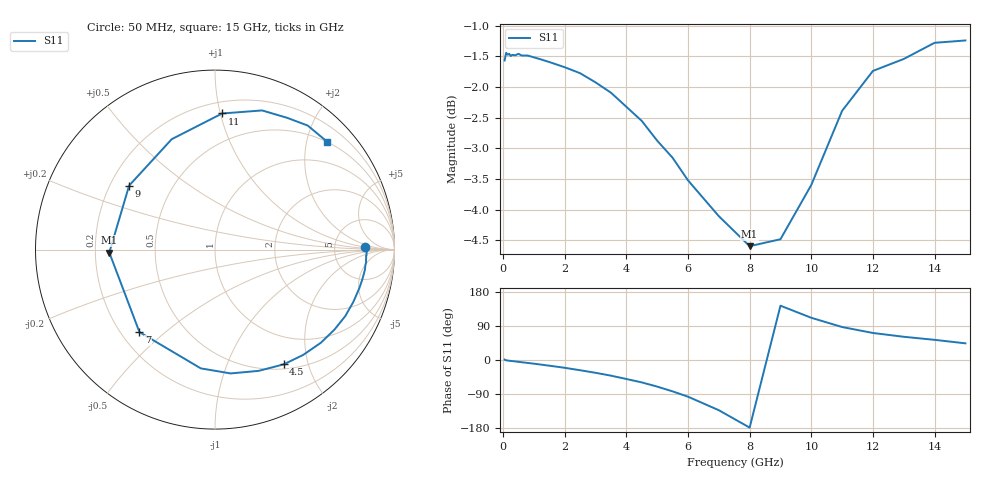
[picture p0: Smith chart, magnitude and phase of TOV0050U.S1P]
! SIEMENS Small Signal Semiconductors
! BAT15-03W
! Si Schottky Diode in SOD323
! IF = 0.05 mA
! S-Parameters:  May  1996
# GHz  S  MA  R  50
!  f  S11
! GHz  MAG  ANG
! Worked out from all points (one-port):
!   31 points, 50 MHz to 15 GHz, reference 50 ohm
!   lowest |S11| = -4.6 dB at 8 GHz (marker M1), VSWR 3.87, Z = 12.9 - j0.651 ohm
!   |S11| at or under -10 dB: nowhere
!   S11 on the Smith chart (normalised r, x): 50 MHz: 11, +1; 4.5 GHz: 0.56, -1.62; 7 GHz: 0.27, -0.41; 9 GHz: 0.28, +0.31; 11 GHz: 0.28, +1.01; 15 GHz: 0.49, +2.39
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0.05  0.8347 1.0
0.1  0.8468 -0.8
0.15  0.8439 -1.4
0.2  0.8452 -2.1
0.25  0.8417 -2.4
0.4  0.8429 -3.8
0.5  0.8452 -4.8
0.8  0.8425 -7.8
1.2  0.8368 -11.8
1.5  0.8323 -15.0
2  0.8242 -20.6
2.5  0.815 -27.0
3  0.8011 -33.8
3.5  0.7857 -41.3
4  0.7652 -50.1
4.5  0.7452 -59.1
5  0.7181 -70.2
5.5  0.6954 -82.8
6  0.6665 -96.8
7  0.6232 -132.5
8  0.5891 -178.4
9  0.5968 143.3
10  0.6608 111.4
11  0.7594 87.0
12  0.8185 71.3
13  0.8371 61.3
14  0.8629 53.2
15  0.8667 44.0
